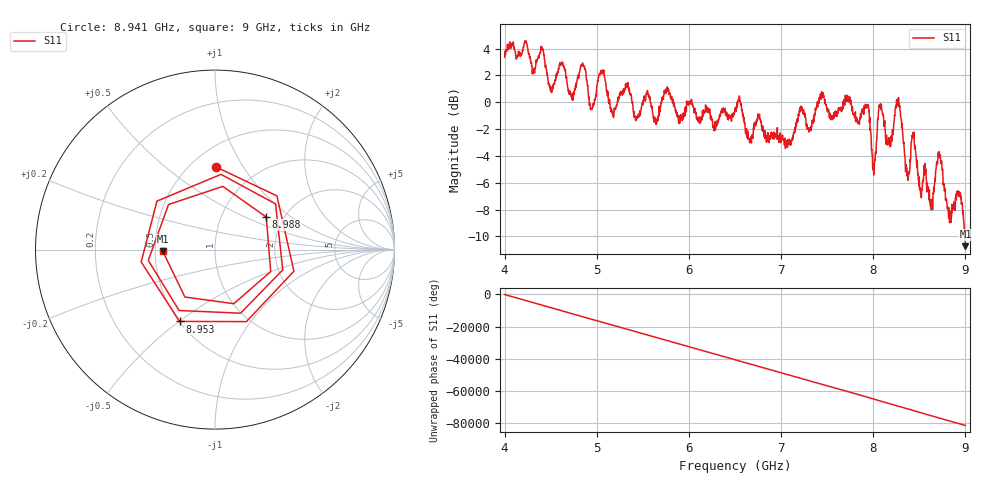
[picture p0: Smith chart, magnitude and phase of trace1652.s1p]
! Created with skrf 1.8.0 (http://scikit-rf.org).
# Hz S RI R 50.0
!freq ReS11 ImS11
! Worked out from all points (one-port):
!   1601 points, 4 GHz to 9 GHz, reference 50 ohm
!   lowest |S11| = -10.7 dB at 9 GHz (marker M1), VSWR 1.82, Z = 27.5 - j0.598 ohm
!   |S11| at or under -10 dB: 8.995426 GHz to end of sweep
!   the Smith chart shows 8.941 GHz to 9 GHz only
!   S11 on the Smith chart (normalised r, x): 8.941 GHz: 0.66, +0.77; 8.953 GHz: 0.50, -0.50; 8.988 GHz: 1.63, +0.67; 9 GHz: 0.55, -0.01
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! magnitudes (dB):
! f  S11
! 4 GHz  3.4
! 4.406 GHz  4.1
! 4.5 GHz  1.1
! 4.625 GHz  2.8
! 4.725 GHz  0.4
! 4.856 GHz  2.7
! 4.944 GHz  -0.5
! 5.053 GHz  2.2
! 5.169 GHz  -0.8
! 5.25 GHz  0.6
! 5.875 GHz  -1.1
! 6.5 GHz  -0.4
! 7.125 GHz  -2.6
! 7.75 GHz  0.3
! 7.938 GHz  -0.2
! 8.006 GHz  -5.4
! 8.072 GHz  -0.2
! 8.166 GHz  -2.9
! 8.269 GHz  -0.3
! 8.375 GHz  -5.8
! 8.434 GHz  -2.5
! 8.625 GHz  -7.3
! 8.716 GHz  -3.8
! 8.825 GHz  -8.4
! 8.941 GHz  -6.7
! 8.953 GHz  -7.0
! 8.988 GHz  -9.4
! 9 GHz  -10.7
